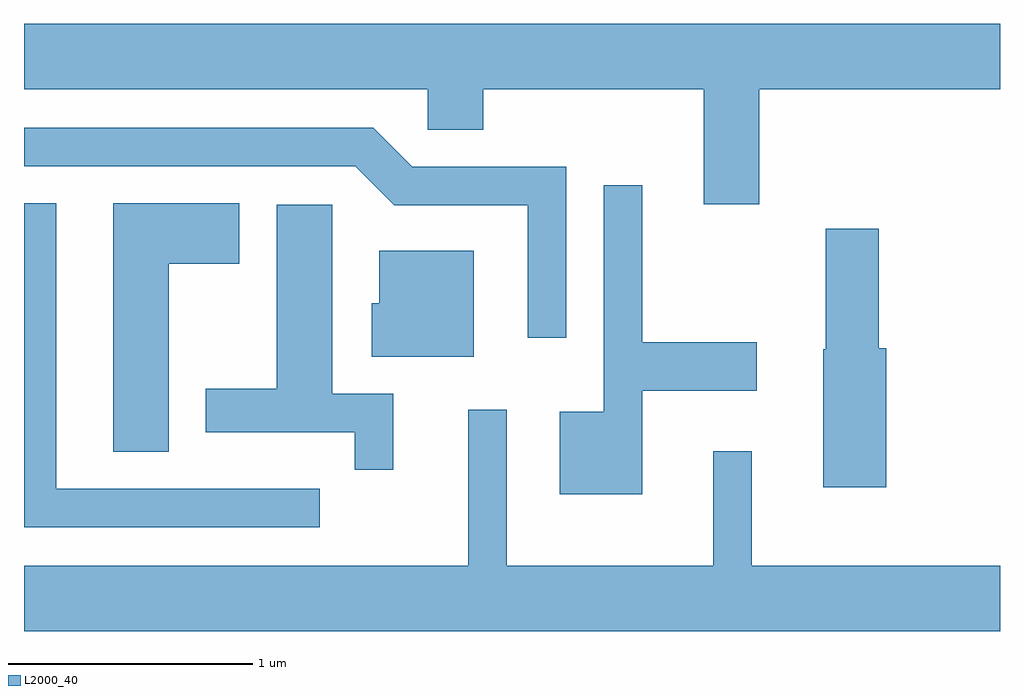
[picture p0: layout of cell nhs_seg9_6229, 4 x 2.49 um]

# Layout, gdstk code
import gdstk
lib = gdstk.Library(unit=1e-6, precision=1e-09)
def P(c, l, *ps):  # polygons
    for p in ps: c.add(gdstk.Polygon(p, *l))
L2000_40 = (2000, 40)

nhs_seg9_6229 = lib.new_cell('nhs_seg9_6229')
P(nhs_seg9_6229, L2000_40, [(372.624,1967.396),(373.611,1967.396),(373.611,1967.664),(369.611,1967.664),(369.611,1967.396),(371.266,1967.396),(371.266,1967.231),(371.494,1967.231),(371.494,1967.396),(372.396,1967.396),(372.396,1966.926),(372.624,1966.926)],
  [(371.834,1967.079),(371.202,1967.079),(371.042,1967.239),(369.611,1967.239),(369.611,1967.081),(370.969,1967.081),(371.129,1966.921),(371.676,1966.921),(371.676,1966.378),(371.834,1966.378)],
  [(372.144,1966.161),(372.614,1966.161),(372.614,1966.359),(372.144,1966.359),(372.144,1967.003),(371.986,1967.003),(371.986,1966.074),(371.806,1966.074),(371.806,1965.736),(372.144,1965.736)],
  [(370.823,1965.759),(369.744,1965.759),(369.744,1966.929),(369.611,1966.929),(369.611,1965.601),(370.823,1965.601)],
  [(370.204,1966.681),(370.494,1966.681),(370.494,1966.929),(369.976,1966.929),(369.976,1965.911),(370.204,1965.911)],
  [(371.124,1966.149),(370.874,1966.149),(370.874,1966.924),(370.646,1966.924),(370.646,1966.169),(370.356,1966.169),(370.356,1965.991),(370.966,1965.991),(370.966,1965.838),(371.124,1965.838)],
  [(373.144,1966.334),(373.114,1966.334),(373.114,1966.824),(372.896,1966.824),(372.896,1966.33),(372.886,1966.33),(372.886,1965.766),(373.144,1965.766)],
  [(371.454,1966.734),(371.066,1966.734),(371.066,1966.519),(371.036,1966.519),(371.036,1966.301),(371.454,1966.301)],
  [(373.611,1965.444),(372.594,1965.444),(372.594,1965.913),(372.436,1965.913),(372.436,1965.444),(371.589,1965.444),(371.589,1966.083),(371.431,1966.083),(371.431,1965.444),(369.611,1965.444),(369.611,1965.176),(373.611,1965.176)])

lib.write_gds('nhs_seg9_6229.gds')
